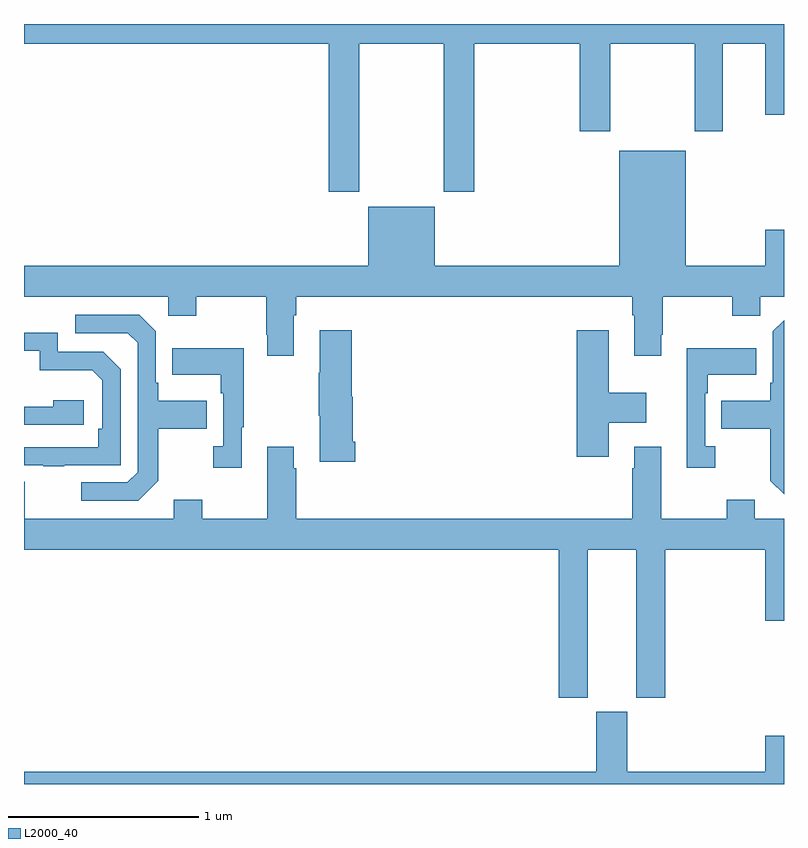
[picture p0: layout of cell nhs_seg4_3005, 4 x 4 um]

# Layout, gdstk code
import gdstk
lib = gdstk.Library(unit=1e-6, precision=1e-09)
def P(c, l, *ps):  # polygons
    for p in ps: c.add(gdstk.Polygon(p, *l))
L2000_40 = (2000, 40)

nhs_seg4_3005 = lib.new_cell('nhs_seg4_3005')
P(nhs_seg4_3005, L2000_40, [(272.085,820.796),(272.53,820.796),(272.53,820.335),(272.677,820.335),(272.677,820.796),(272.9,820.796),(272.9,820.422),(273,820.422),(273,820.9),(269,820.9),(269,820.796),(270.605,820.796),(270.605,820.017),(270.765,820.017),(270.765,820.796),(271.21,820.796),(271.21,820.017),(271.37,820.017),(271.37,820.796),(271.925,820.796),(271.925,820.335),(272.085,820.335)],
  [(272.728,819.365),(272.874,819.365),(272.874,819.464),(273,819.464),(273,819.817),(272.9,819.817),(272.9,819.628),(272.482,819.628),(272.482,820.234),(272.132,820.234),(272.132,819.628),(271.162,819.628),(271.162,819.937),(270.812,819.937),(270.812,819.628),(269,819.628),(269,819.464),(269.76,819.464),(269.76,819.365),(269.907,819.365),(269.907,819.464),(270.274,819.464),(270.274,819.265),(270.281,819.265),(270.281,819.153),(270.421,819.153),(270.421,819.368),(270.434,819.368),(270.434,819.464),(272.201,819.464),(272.201,819.368),(272.213,819.368),(272.213,819.153),(272.353,819.153),(272.353,819.265),(272.361,819.265),(272.361,819.464),(272.728,819.464)],
  [(269.707,818.497),(269.707,818.77),(269.963,818.77),(269.963,818.917),(269.707,818.917),(269.707,819.013),(269.694,819.013),(269.694,819.282),(269.607,819.369),(269.271,819.369),(269.271,819.273),(269.547,819.273),(269.598,819.222),(269.598,818.541),(269.544,818.487),(269.301,818.487),(269.301,818.391),(269.601,818.391)],
  [(273,819.342),(272.94,819.282),(272.94,819.013),(272.928,819.013),(272.928,818.917),(272.671,818.917),(272.671,818.77),(272.928,818.77),(272.928,818.497),(273,818.424)],
  [(272.077,818.801),(272.275,818.801),(272.275,818.959),(272.077,818.959),(272.077,819.289),(271.91,819.289),(271.91,818.622),(272.077,818.622)],
  [(270.743,818.701),(270.73,818.701),(270.73,818.937),(270.725,818.937),(270.725,819.289),(270.557,819.289),(270.557,819.065),(270.55,819.065),(270.55,818.837),(270.557,818.837),(270.557,818.597),(270.743,818.597)],
  [(269.213,818.577),(269.508,818.577),(269.508,819.084),(269.418,819.174),(269.178,819.174),(269.178,819.276),(269,819.276),(269,819.18),(269.082,819.18),(269.082,819.077),(269.359,819.077),(269.412,819.024),(269.412,818.77),(269.392,818.77),(269.392,818.673),(269,818.673),(269,818.577),(269.101,818.577),(269.101,818.572),(269.213,818.572)],
  [(272.638,818.678),(272.586,818.678),(272.586,818.957),(272.599,818.957),(272.599,819.053),(272.855,819.053),(272.855,819.193),(272.489,819.193),(272.489,818.565),(272.638,818.565)],
  [(270.145,818.777),(270.157,818.777),(270.157,819.193),(269.779,819.193),(269.779,819.053),(270.036,819.053),(270.036,818.957),(270.048,818.957),(270.048,818.678),(269.997,818.678),(269.997,818.565),(270.145,818.565)],
  [(269.314,818.92),(269.153,818.92),(269.153,818.886),(269,818.886),(269,818.79),(269.314,818.79)],
  [(271.966,818.132),(272.222,818.132),(272.222,817.353),(272.375,817.353),(272.375,818.132),(272.9,818.132),(272.9,817.758),(273,817.758),(273,818.296),(272.845,818.296),(272.845,818.395),(272.698,818.395),(272.698,818.296),(272.353,818.296),(272.353,818.674),(272.213,818.674),(272.213,818.561),(272.201,818.561),(272.201,818.296),(270.434,818.296),(270.434,818.561),(270.421,818.561),(270.421,818.674),(270.281,818.674),(270.281,818.296),(269.937,818.296),(269.937,818.395),(269.789,818.395),(269.789,818.296),(269.005,818.296),(269.005,818.491),(269,818.491),(269,818.132),(271.814,818.132),(271.814,817.353),(271.966,817.353)],
  [(273,817.153),(272.9,817.153),(272.9,816.964),(272.176,816.964),(272.176,817.281),(272.012,817.281),(272.012,816.964),(269,816.964),(269,816.9),(273,816.9)])

lib.write_gds('nhs_seg4_3005.gds')
